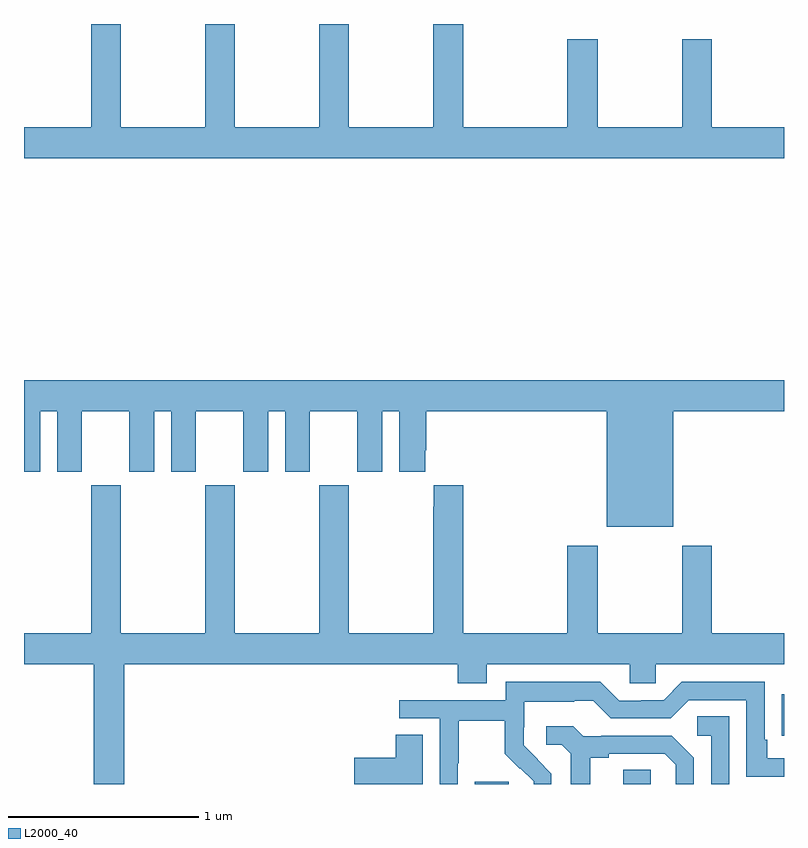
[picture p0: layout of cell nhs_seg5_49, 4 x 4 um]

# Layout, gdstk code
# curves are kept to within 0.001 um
import gdstk
lib = gdstk.Library(unit=1e-6, precision=1e-09)
def R(c, l, rs):  # rectangles x0, y0, x1, y1
    for r in rs: c.add(gdstk.rectangle(r[:2], r[2:], *l))
def P(c, l, *ps):  # polygons
    for p in ps: c.add(gdstk.Polygon(p, *l))
L2000_40 = (2000, 40)

nhs_seg5_49 = lib.new_cell('nhs_seg5_49')
R(nhs_seg5_49, L2000_40, [(115.373,854.799,115.552,854.811), (116.153,854.799,116.298,854.873), (116.989,855.052,117,855.271)])
P(nhs_seg5_49, L2000_40, [(117,858.256),(116.619,858.256),(116.619,858.718),(116.464,858.718),(116.464,858.256),(116.019,858.256),(116.019,858.718),(115.859,858.718),(115.859,858.256),(115.313,858.256),(115.313,858.799),(115.153,858.799),(115.153,858.256),(114.708,858.256),(114.708,858.799),(114.553,858.799),(114.553,858.256),(114.108,858.256),(114.108,858.799),(113.953,858.799),(113.953,858.256),(113.508,858.256),(113.508,858.799),(113.353,858.799),(113.353,858.256),(113,858.256),(113,858.092),(117,858.092)],
  [(116.416,856.76),(117,856.76),(117,856.924),(113,856.924),(113,856.443),(113.086,856.443),(113.086,856.76),(113.174,856.76),(113.174,856.443),(113.305,856.443),(113.305,856.76),(113.555,856.76),(113.555,856.443),(113.686,856.443),(113.686,856.76),(113.774,856.76),(113.774,856.443),(113.905,856.443),(113.905,856.76),(114.155,856.76),(114.155,856.443),(114.286,856.443),(114.286,856.76),(114.374,856.76),(114.374,856.443),(114.505,856.443),(114.505,856.76),(114.755,856.76),(114.755,856.443),(114.886,856.443),(114.886,856.76),(114.974,856.76),(114.974,856.443),(115.111,856.443),(115.111,856.555),(115.118,856.555),(115.118,856.76),(116.066,856.76),(116.066,856.154),(116.416,856.154)],
  [(113.528,855.428),(115.283,855.428),(115.283,855.329),(115.435,855.329),(115.435,855.428),(116.187,855.428),(116.187,855.33),(116.325,855.33),(116.325,855.428),(117,855.428),(117,855.592),(116.619,855.592),(116.619,856.054),(116.464,856.054),(116.464,855.592),(116.019,855.592),(116.019,856.054),(115.859,856.054),(115.859,855.592),(115.313,855.592),(115.313,856.372),(115.157,856.372),(115.157,856.259),(115.153,856.259),(115.153,855.592),(114.708,855.592),(114.708,856.372),(114.553,856.372),(114.553,855.592),(114.108,855.592),(114.108,856.372),(113.953,856.372),(113.953,855.592),(113.508,855.592),(113.508,856.372),(113.353,856.372),(113.353,855.592),(113,855.592),(113,855.428),(113.368,855.428),(113.368,854.799),(113.528,854.799)],
  [(115.284,854.908),(115.287,854.908),(115.287,855.132),(115.531,855.132),(115.531,854.957),(115.608,854.88),(115.611,854.883),(115.682,854.813),(115.682,854.799),(115.776,854.799),(115.776,854.854),(115.63,855.002),(115.63,855.099),(115.632,855.099),(115.632,855.233),(115.895,855.233),(115.895,855.237),(115.995,855.237),(116.088,855.144),(116.403,855.144),(116.499,855.24),(116.802,855.24),(116.802,854.838),(117,854.838),(117,854.934),(116.911,854.934),(116.911,855.031),(116.898,855.031),(116.898,855.336),(116.463,855.336),(116.367,855.24),(116.249,855.24),(116.249,855.237),(116.133,855.237),(116.033,855.337),(115.536,855.337),(115.536,855.24),(114.975,855.24),(114.975,855.144),(115.188,855.144),(115.188,854.799),(115.284,854.799)],
  [(116.712,855.155),(116.544,855.155),(116.544,855.054),(116.616,855.054),(116.616,854.799),(116.712,854.799)],
  [(115.981,854.936),(116.077,854.936),(116.077,854.958),(116.372,854.958),(116.429,854.901),(116.429,854.799),(116.526,854.799),(116.526,854.938),(116.41,855.054),(116.038,855.054),(116.038,855.051),(115.944,855.051),(115.892,855.103),(115.749,855.103),(115.749,855.006),(115.83,855.006),(115.877,854.959),(115.877,854.799),(115.981,854.799)],
  [(115.099,855.059),(114.956,855.059),(114.956,854.936),(114.738,854.936),(114.738,854.799),(115.099,854.799)])

lib.write_gds('nhs_seg5_49.gds')
